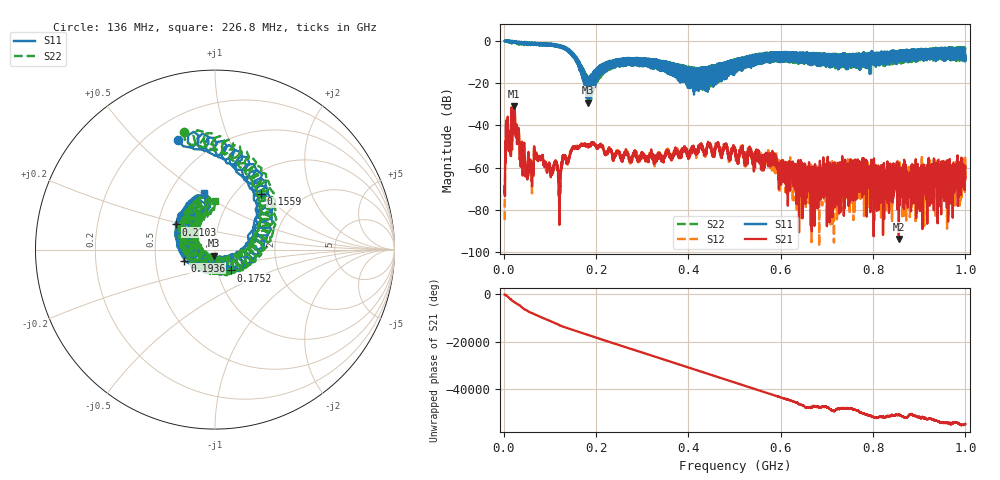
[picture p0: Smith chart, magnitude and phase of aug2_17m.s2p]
!Keysight Technologies N9923A: A.12.45
!Date: Saturday, 02 August 2025 19:04:05
!Timezone: (UTC+08:00) Kuala Lumpur, Singapore
!Model: N9923A
!Serial: MY61181427
!GPS Latitude:
!GPS Longitude:
!GPS TimeStamp: 0001-01-01 00:00:00Z
!GPS Seconds Since Last Read: 0
!CHECKSUM:0447504201
!Correction: S11(ON U)S21(ON U)S12(ON U)S22(ON U)
!S2P File: Measurements:S11,S21,S12,S22:
# Hz S DB R 50
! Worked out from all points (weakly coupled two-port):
!   4001 points, 2 MHz to 1 GHz, reference 50 ohm
!   highest |S21| = -30.96 dB at 21.46 MHz (marker M1); lowest = -93.7 dB at 855.8 MHz (marker M2)
!   lowest |S11| = -29.2 dB at 182.9 MHz (marker M3), VSWR 1.07, Z = 49.5 - j3.4 ohm
!   |S11| at or under -10 dB: 162.5 MHz to 223.5 MHz (61.02 MHz wide, 31.6 % of centre); 223.6 MHz to 225.3 MHz (1.678 MHz wide, 0.748 % of centre); 352.8 MHz to 484.7 MHz (131.9 MHz wide, 31.5 % of centre) (the widest 3 of 259)
!   |S22| runs from -29.1 to 0.1 dB; largest |S21 - S12| = 0.0028
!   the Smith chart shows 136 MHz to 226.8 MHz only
!   S11 on the Smith chart (normalised r, x): 136 MHz: 0.32, +0.67; 155.9 MHz: 1.30, +0.95; 175.2 MHz: 1.16, -0.28; 193.6 MHz: 0.70, -0.09; 210.3 MHz: 0.62, +0.19; 226.8 MHz: 0.73, +0.52
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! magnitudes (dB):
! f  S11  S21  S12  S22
! 2 MHz  -0.1  -71.2  -84.7  -0.1
! 8.238 MHz  0.1  -44.6  -44.3  0.1
! 21.46 MHz  -0.4  -31.0  -31.2  -0.8
! 51.4 MHz  -1.7  -65.5  -63.9  -1.3
! 70.11 MHz  -1.4  -54.1  -54.1  -1.4
! 120.3 MHz  -2.5  -81.1  -74.8  -2.6
! 136 MHz  -3.8  -57.0  -57.6  -3.4
! 155.9 MHz  -7.9  -50.5  -50.2  -7.4
! 168.4 MHz  -14.5  -48.8  -48.7  -15.3
! 175.2 MHz  -16.7  -49.2  -49.0  -18.7
! 182.9 MHz  -29.2  -50.0  -49.3  -23.8
! 193.6 MHz  -14.8  -49.0  -48.6  -16.1
! 210.3 MHz  -11.7  -49.8  -49.2  -12.2
! 226.8 MHz  -9.9  -51.9  -51.5  -11.3
! 334.8 MHz  -11.6  -54.6  -54.4  -9.8
! 501 MHz  -12.4  -52.1  -51.8  -13.3
! 667.4 MHz  -6.8  -90.0  -66.5  -10.2
! 779.9 MHz  -8.1  -63.2  -58.8  -8.0
! 833.8 MHz  -6.9  -71.8  -65.5  -7.8
! 855.8 MHz  -5.4  -93.7  -67.5  -8.3
! 987 MHz  -3.3  -69.8  -75.7  -7.1
! 1 GHz  -7.1  -59.6  -59.0  -3.1
